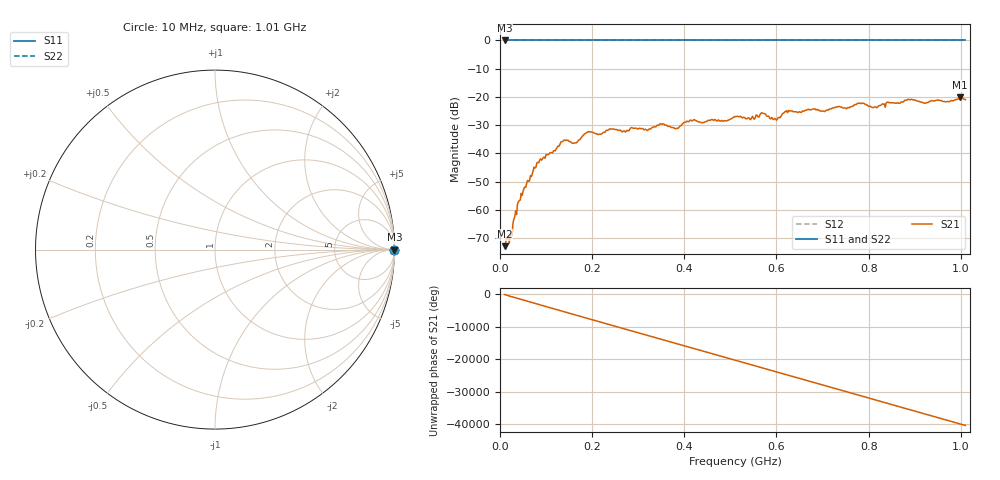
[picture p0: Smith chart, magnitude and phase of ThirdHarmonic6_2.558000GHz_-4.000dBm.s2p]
! 8/17/2025 5:16:18 AM
! C:\ANRITSUVNA\TEMP\TEMP.S2P
! CHANNEL.1
! TR.MEASUREMENT
! RAW.DATA
! RF.CORRECTION.OFF
! AVERAGING.OFF
! IF.BANDWIDTH: 5KHZ
! SWEEPTYPE:  FREQ.SWEEP(Linear)
! Reference Plane Port Info
! PORT:  PORT1  PORT2
! DISTANCE:  0  m  0  m
! TIME:  0  s  0  s
! PHASE.OFFSET:  0  deg.  0  deg.
! LOSS:  0  dB  0  dB
! REF.LOSS:  0  dB  0  dB
! REF.FREQ:  0  Hz  0  Hz
! Power Info
! POWER:  -20  dBm  -20  dBm
! EFF.POWER:  -20  dBm  -20  dBm
! SOURCE.ATTEN:  0  dB  0  dB
! TEST.ATTEN:  0  dB  0  dB
# GHZ S RI R 50.0
! FREQ.GHZ  S11RE  S11IM  S21RE  S21IM  S12RE  S12IM  S22RE  S22IM
!; PortSelection: Port_12
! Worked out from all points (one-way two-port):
!   501 points, 10 MHz to 1.01 GHz, reference 50 ohm
!   highest |S21| = -20.17 dB at 998 MHz (marker M1); lowest = -72.9 dB at 10 MHz (marker M2)
!   lowest |S11| = 0.0 dB at 10 MHz (marker M3)
!   |S11| at or under -10 dB: nowhere
!   |S22| runs from 0.0 to 0.0 dB; largest |S21 - S12| = 1.1
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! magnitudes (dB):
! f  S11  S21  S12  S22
! 10 MHz  0.0  -72.9  0.0  0.0
! 24 MHz  0.0  -68.1  0.0  0.0
! 42 MHz  0.0  -56.7  0.0  0.0
! 84 MHz  0.0  -43.3  0.0  0.0
! 136 MHz  0.0  -35.8  0.0  0.0
! 162 MHz  0.0  -36.3  0.0  0.0
! 178 MHz  0.0  -34.1  0.0  0.0
! 194 MHz  0.0  -32.4  0.0  0.0
! 322 MHz  0.0  -31.6  0.0  0.0
! 344 MHz  0.0  -30.1  0.0  0.0
! 382 MHz  0.0  -31.2  0.0  0.0
! 416 MHz  0.0  -28.5  0.0  0.0
! 510 MHz  0.0  -26.9  0.0  0.0
! 548 MHz  0.0  -26.9  0.0  0.0
! 570 MHz  0.0  -25.7  0.0  0.0
! 598 MHz  0.0  -27.8  0.0  0.0
! 622 MHz  0.0  -24.9  0.0  0.0
! 678 MHz  0.0  -24.3  0.0  0.0
! 814 MHz  0.0  -23.5  0.0  0.0
! 844 MHz  0.0  -22.0  0.0  0.0
! 998 MHz  0.0  -20.2  0.0  0.0
! 1.01 GHz  0.0  -21.0  0.0  0.0
